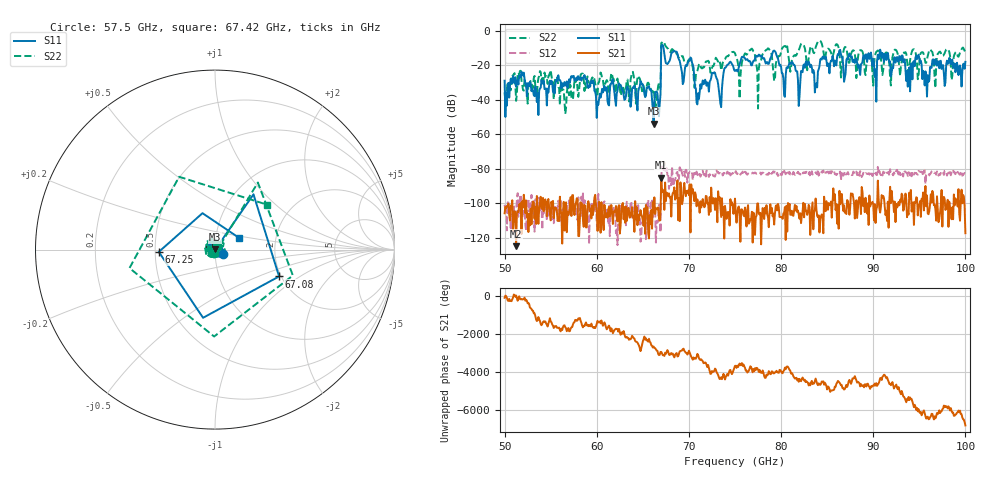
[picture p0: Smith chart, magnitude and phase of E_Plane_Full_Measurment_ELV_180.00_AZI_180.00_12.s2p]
! 11/26/2026 3:10:40 PM
! C:\ANRITSUVNA\TEMP\TEMP.S2P
! CHANNEL.1
! TR.MEASUREMENT
! RAW.DATA
# HZ S RI R 50.0
! FREQ.HZ  S11RE  S11IM  S21RE  S21IM  S12RE  S12IM  S22RE  S22IM
!; PortSelection: Port_12
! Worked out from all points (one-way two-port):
!   601 points, 50 GHz to 100 GHz, reference 50 ohm
!   highest |S21| = -85.18 dB at 67 GHz (marker M1); lowest = -124.9 dB at 51.25 GHz (marker M2)
!   lowest |S11| = -54.0 dB at 66.17 GHz (marker M3), VSWR 1.00, Z = 50.1 + j0.145 ohm
!   |S11| at or under -10 dB: start of sweep to 67 GHz; 67.25 GHz to end of sweep
!   |S22| runs from -48.2 to -5.6 dB; largest |S21 - S12| = 0.00015
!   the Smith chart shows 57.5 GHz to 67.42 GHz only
!   S11 on the Smith chart (normalised r, x): 57.5 GHz: 1.09, -0.05; 67.08 GHz: 1.95, -0.69; 67.25 GHz: 0.52, -0.01; 67.42 GHz: 1.29, +0.18
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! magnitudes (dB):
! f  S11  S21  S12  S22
! 50 GHz  -28.9  -105.9  -101.0  -35.7
! 51.25 GHz  -32.5  -124.9  -105.4  -40.6
! 57.5 GHz  -26.2  -103.9  -99.5  -34.6
! 58.42 GHz  -27.2  -100.7  -106.9  -24.8
! 60.17 GHz  -42.9  -109.5  -94.6  -30.4
! 66.17 GHz  -54.0  -105.4  -100.5  -34.1
! 66.67 GHz  -41.5  -102.4  -110.5  -31.6
! 67 GHz  -8.5  -85.2  -84.6  -7.1
! 67.08 GHz  -8.2  -93.6  -78.7  -6.8
! 67.25 GHz  -10.1  -93.2  -80.7  -6.2
! 67.42 GHz  -16.6  -88.0  -81.3  -8.3
! 70.25 GHz  -15.9  -89.1  -82.7  -18.8
! 70.92 GHz  -42.7  -97.8  -83.1  -23.2
! 75 GHz  -23.3  -97.4  -82.9  -13.0
! 79.25 GHz  -11.5  -112.4  -82.2  -29.1
! 80.25 GHz  -27.8  -106.0  -83.0  -9.3
! 83.42 GHz  -24.3  -99.5  -83.4  -10.9
! 91.67 GHz  -16.6  -114.2  -81.8  -15.2
! 93.75 GHz  -32.4  -104.7  -84.2  -21.2
! 94.83 GHz  -15.1  -107.1  -83.5  -28.1
! 95.83 GHz  -38.2  -95.5  -83.2  -16.6
! 100 GHz  -18.0  -117.4  -83.3  -12.6
